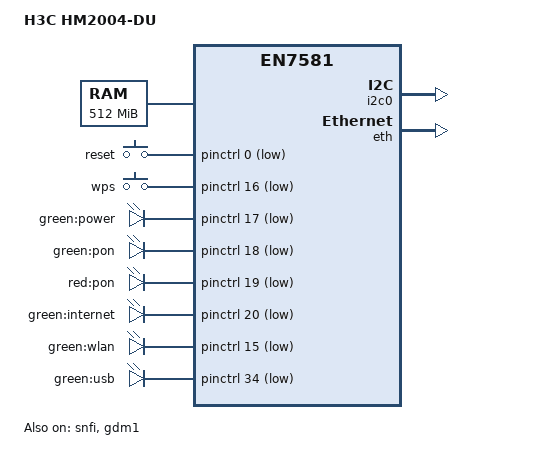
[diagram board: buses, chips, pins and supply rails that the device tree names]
// SPDX-License-Identifier: (GPL-2.0-only OR BSD-2-Clause)
/dts-v1/;

#include <dt-bindings/input/input.h>
#include <dt-bindings/gpio/gpio.h>
#include "an7581.dtsi"

/ {
	model = "H3C HM2004-DU";
	compatible = "h3c,hm2004-du",
		     "airoha,an7581",
		     "airoha,en7581";

	aliases {
		serial0 = &uart1;
	};

	chosen {
		stdout-path = "serial0:115200n8";
		linux,usable-memory-range = <0x0 0x80200000 0x0 0x1fe00000>;
	};

	memory@80000000 {
		device_type = "memory";
		reg = <0x0 0x80000000 0x0 0x20000000>;
	};

	keys {
		compatible = "gpio-keys";

		reset {
			label = "reset";
			linux,code = <KEY_RESTART>;
			gpios = <&pinctrl 0 GPIO_ACTIVE_LOW>;
			debounce-interval = <60>;
		};

		wps {
			label = "wps";
			linux,code = <KEY_WPS_BUTTON>;
			gpios = <&pinctrl 16 GPIO_ACTIVE_LOW>;
			debounce-interval = <60>;
		};
	};

	leds {
		compatible = "gpio-leds";

		led-0 {
			label = "green:power";
			gpios = <&pinctrl 17 GPIO_ACTIVE_LOW>;
		};

		led-1 {
			label = "green:pon";
			gpios = <&pinctrl 18 GPIO_ACTIVE_LOW>;
		};

		led-2 {
			label = "red:pon";
			gpios = <&pinctrl 19 GPIO_ACTIVE_LOW>;
		};

		led-3 {
			label = "green:internet";
			gpios = <&pinctrl 20 GPIO_ACTIVE_LOW>;
		};

		led-4 {
			label = "green:wlan";
			gpios = <&pinctrl 15 GPIO_ACTIVE_LOW>;
		};

		led-5 {
			label = "green:usb";
			gpios = <&pinctrl 34 GPIO_ACTIVE_LOW>;
		};
	};
};

/*
 * The stock flash is SPI-NAND driven by the SNFI (SPI2NFI) engine, so &nand
 * keeps its default disabled state from an7581.dtsi: both nodes drive the
 * same NFI block and only one of them may be enabled.
 */
&snfi {
	status = "okay";
};

&spi_nand {
	partitions {
		compatible = "fixed-partitions";
		#address-cells = <1>;
		#size-cells = <1>;

		/* BootROM reads the BL2 FIP at offset 0x800 in the first eraseblock. */
		partition@0 {
			label = "bl2";
			reg = <0x0 0x20000>;
		};

		/* UBI manages every eraseblock after BL2. */
		partition@20000 {
			label = "ubi";
			reg = <0x20000 0x000000>;
		};
	};
};

&i2c0 {
	status = "okay";
};

&eth {
	status = "okay";
};

&gdm1 {
	status = "okay";
};
